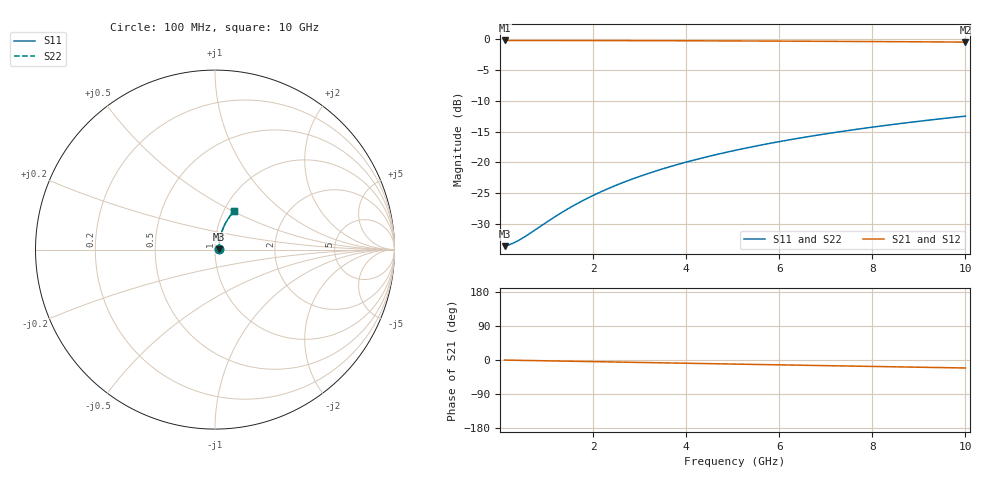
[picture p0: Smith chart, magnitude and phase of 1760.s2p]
# Hz S RI R 50.00
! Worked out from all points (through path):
!   100 points, 100 MHz to 10 GHz, reference 50 ohm
!   highest |S21| = -0.18 dB at 100 MHz (marker M1); lowest = -0.4 dB at 10 GHz (marker M2)
!   group delay of S21, straight-line fit = 5.86 ps
!   lowest |S11| = -33.6 dB at 100 MHz (marker M3), VSWR 1.04, Z = 52.1 + j0.25 ohm
!   |S11| at or under -10 dB: start of sweep to end of sweep
!   |S22| runs from -33.6 to -12.5 dB; largest |S21 - S12| = 0
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1e8  0.0207 0.00239  0.9793 -0.00368  0.9793 -0.00368  0.0207 0.00239
2e8  0.0209 0.00479  0.9791 -0.00735  0.9791 -0.00735  0.0209 0.00479
3e8  0.021 0.00718  0.979 -0.011  0.979 -0.011  0.021 0.00718
4e8  0.0212 0.00957  0.9788 -0.0147  0.9788 -0.0147  0.0212 0.00957
6e8  0.0215 0.0143  0.9785 -0.022  0.9785 -0.022  0.0215 0.0143
1e9  0.0222 0.0239  0.9777 -0.0367  0.9777 -0.0367  0.0222 0.0239
1.3e9  0.023 0.031  0.9769 -0.0477  0.9769 -0.0477  0.023 0.031
1.5e9  0.0235 0.0358  0.9763 -0.055  0.9763 -0.055  0.0235 0.0358
1.8e9  0.0245 0.0428  0.9752 -0.0659  0.9752 -0.0659  0.0245 0.0428
2.1e9  0.0256 0.0499  0.974 -0.0768  0.974 -0.0768  0.0256 0.0499
2.5e9  0.0274 0.0593  0.9721 -0.0913  0.9721 -0.0913  0.0274 0.0593
2.9e9  0.0294 0.0686  0.9699 -0.1057  0.9699 -0.1057  0.0294 0.0686
3.4e9  0.0322 0.0801  0.9668 -0.1237  0.9668 -0.1237  0.0322 0.0801
3.8e9  0.0348 0.0892  0.9639 -0.1379  0.9639 -0.1379  0.0348 0.0892
4.2e9  0.0377 0.0982  0.9608 -0.1521  0.9608 -0.1521  0.0377 0.0982
4.6e9  0.0408 0.1071  0.9574 -0.1661  0.9574 -0.1661  0.0408 0.1071
5.1e9  0.0451 0.1181  0.9527 -0.1835  0.9527 -0.1835  0.0451 0.1181
5.9e9  0.0527 0.1353  0.9443 -0.2109  0.9443 -0.2109  0.0527 0.1353
6.7e9  0.0613 0.1518  0.9349 -0.2378  0.9349 -0.2378  0.0613 0.1518
7.5e9  0.0707 0.1678  0.9245 -0.2641  0.9245 -0.2641  0.0707 0.1678
8.4e9  0.0824 0.1849  0.9117 -0.2928  0.9117 -0.2928  0.0824 0.1849
1e10  0.1054 0.213  0.8861 -0.3416  0.8861 -0.3416  0.1054 0.213
